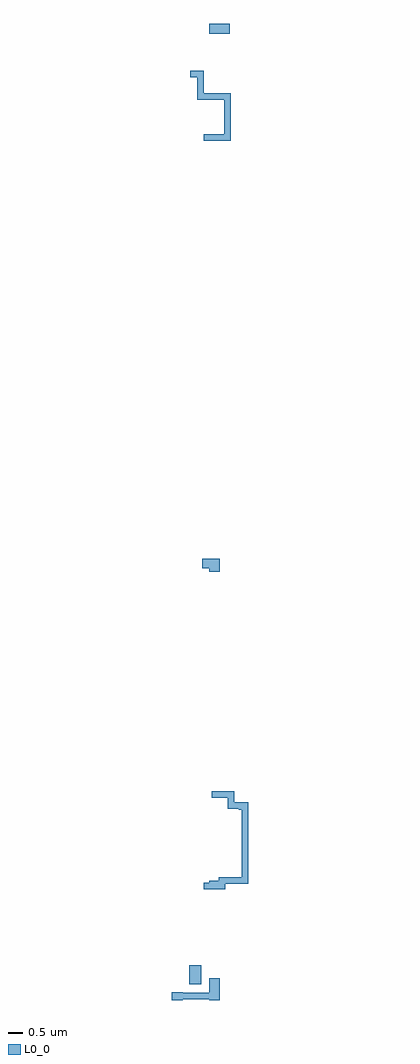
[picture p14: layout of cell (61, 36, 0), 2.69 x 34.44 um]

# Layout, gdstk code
import gdstk
lib = gdstk.Library(unit=1e-6, precision=1e-09)
def P(c, l, *ps):  # polygons
    for p in ps: c.add(gdstk.Polygon(p, *l))
L0_0 = (0, 0)

c__61__36__0_ = lib.new_cell('(61, 36, 0)')
P(c__61__36__0_, L0_0, [(924.875,937.835),(926.31,937.835),(926.31,937.605),(924.875,937.605),(924.875,937.835)],
  [(924.8,937.86),(925.18,937.86),(925.18,937.58),(924.8,937.58),(924.8,937.86)],
  [(926.5,938.345),(926.5,937.58),(926.12,937.58),(926.12,938.345),(926.5,938.345)],
  [(925.84,938.815),(925.84,938.14),(925.41,938.14),(925.41,938.815),(925.84,938.815)],
  [(925.46,938.42),(925.84,938.42),(925.84,938.14),(925.46,938.14),(925.46,938.42)],
  [(926.12,952.98),(926.5,952.98),(926.5,952.7),(926.12,952.7),(926.12,952.98)],
  [(926.5,952.7),(926.12,952.7),(926.12,952.81),(925.87,952.81),(925.87,953.15),(926.5,953.15),(926.5,952.7)],
  [(926.12,971.68),(926.12,972.02),(926.84,972.02),(926.84,971.68),(926.12,971.68)],
  [(926.12,972.02),(926.5,972.02),(926.5,971.74),(926.12,971.74),(926.12,972.02)],
  [(925.925,968.135),(926.65,968.135),(926.65,969.34),(925.69,969.34),(925.69,970.135),(925.455,970.135),(925.455,970.365),(925.92,970.365),(925.92,969.57),(926.88,969.57),(926.88,967.905),(925.925,967.905),(925.925,968.135)],
  [(926.12,941.78),(926.5,941.78),(926.5,941.5),(926.12,941.5),(926.12,941.78)],
  [(927.005,944.945),(927.005,944.555),(927.495,944.555),(927.495,941.685),(926.685,941.685),(926.685,941.495),(925.935,941.495),(925.935,941.725),(926.425,941.725),(926.425,941.755),(926.455,941.755),(926.455,941.915),(927.265,941.915),(927.265,944.3),(927.16,944.3),(927.16,944.325),(926.775,944.325),(926.775,944.715),(926.205,944.715),(926.205,944.945),(927.005,944.945)])

lib.write_gds('_61__36__0_.gds')
